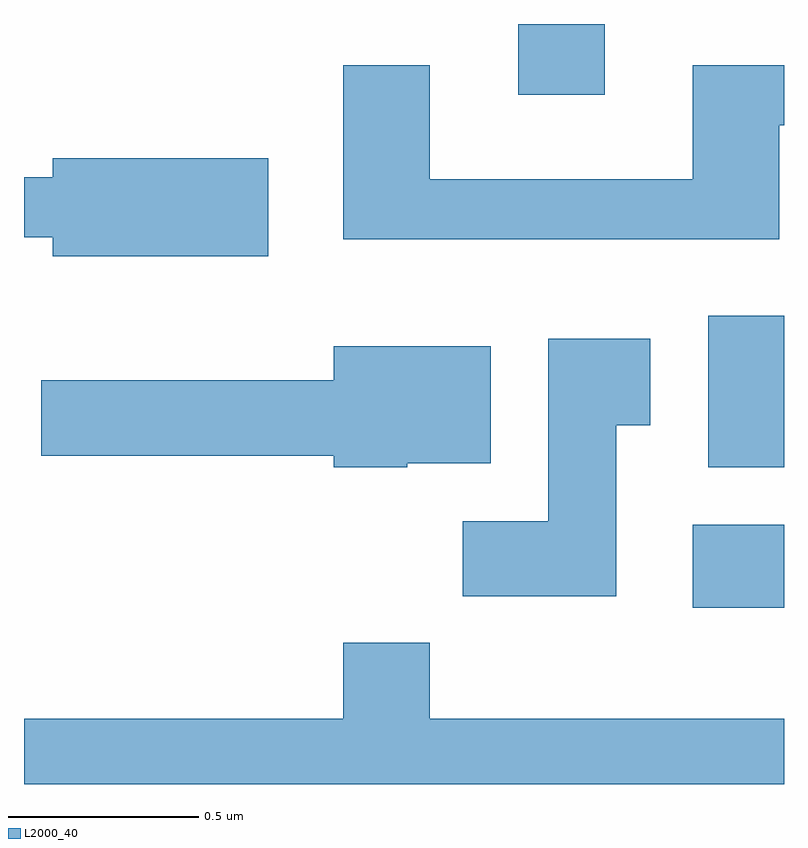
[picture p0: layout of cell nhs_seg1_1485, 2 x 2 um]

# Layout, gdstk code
import gdstk
lib = gdstk.Library(unit=1e-6, precision=1e-09)
def R(c, l, rs):  # rectangles x0, y0, x1, y1
    for r in rs: c.add(gdstk.rectangle(r[:2], r[2:], *l))
def P(c, l, *ps):  # polygons
    for p in ps: c.add(gdstk.Polygon(p, *l))
L2000_40 = (2000, 40)

nhs_seg1_1485 = lib.new_cell('nhs_seg1_1485')
R(nhs_seg1_1485, L2000_40, [(197.371,971.176,197.611,971.394), (197.411,971.546,197.611,971.944), (196.911,972.526,197.139,972.712)])
P(nhs_seg1_1485, L2000_40, [(197.599,972.446),(197.611,972.446),(197.611,972.604),(197.371,972.604),(197.371,972.304),(196.679,972.304),(196.679,972.604),(196.451,972.604),(196.451,972.146),(197.599,972.146)],
  [(196.254,972.359),(195.686,972.359),(195.686,972.309),(195.611,972.309),(195.611,972.151),(195.686,972.151),(195.686,972.101),(196.254,972.101)],
  [(197.169,971.656),(197.259,971.656),(197.259,971.884),(196.991,971.884),(196.991,971.404),(196.766,971.404),(196.766,971.206),(197.169,971.206)],
  [(196.62,971.556),(196.839,971.556),(196.839,971.864),(196.426,971.864),(196.426,971.774),(195.656,971.774),(195.656,971.576),(196.426,971.576),(196.426,971.546),(196.62,971.546)],
  [(197.611,970.884),(196.679,970.884),(196.679,971.084),(196.451,971.084),(196.451,970.884),(195.611,970.884),(195.611,970.712),(197.611,970.712)])

lib.write_gds('nhs_seg1_1485.gds')
